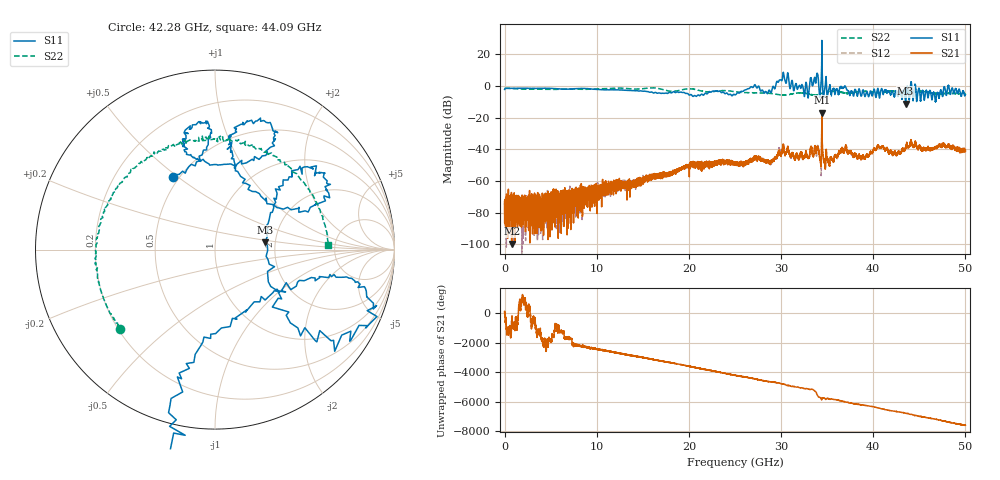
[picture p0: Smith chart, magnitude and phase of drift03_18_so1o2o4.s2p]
!Created with skrf (http://scikit-rf.org).
# Hz S RI R 50.0
!freq ReS11 ImS11 ReS21 ImS21 ReS12 ImS12 ReS22 ImS22
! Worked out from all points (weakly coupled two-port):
!   10000 points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, 5.3 MHz to 50 GHz, reference 50 ohm
!   highest |S21| = -16.70 dB at 34.43 GHz (marker M1); lowest = -99.5 dB at 770.3 MHz (marker M2)
!   lowest |S11| = -11.0 dB at 43.52 GHz (marker M3), VSWR 1.78, Z = 88.2 + j7.74 ohm
!   |S11| at or under -10 dB: 43.49761 GHz to 43.5406 GHz (42.99 MHz wide, 0.0988 % of centre)
!   |S22| runs from -5.8 to -1.1 dB; largest |S21 - S12| = 0.04
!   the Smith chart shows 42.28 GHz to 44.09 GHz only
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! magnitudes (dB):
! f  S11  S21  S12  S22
! 5.3 MHz  -2.1  -86.2  -81.4  -1.3
! 770.3 MHz  -1.4  -99.5  -75.8  -1.5
! 4.085 GHz  -1.4  -79.5  -74.6  -2.0
! 8.34 GHz  -1.5  -64.8  -68.8  -2.1
! 16.67 GHz  -4.4  -57.3  -57.6  -1.5
! 20.39 GHz  -6.3  -49.4  -49.1  -1.8
! 25.01 GHz  -5.5  -49.2  -49.2  -3.5
! 27.02 GHz  -0.3  -44.8  -45.7  -4.3
! 28.72 GHz  -2.5  -47.1  -47.8  -4.5
! 30.14 GHz  4.4  -40.5  -40.4  -5.7
! 32.74 GHz  2.0  -42.0  -42.0  -4.6
! 33.34 GHz  2.4  -39.0  -40.2  -5.5
! 33.82 GHz  3.9  -42.6  -42.0  -5.7
! 34.43 GHz  28.9  -16.7  -18.7  -4.6
! 35.29 GHz  0.7  -48.2  -47.2  -3.3
! 36.86 GHz  -0.5  -41.4  -41.3  -4.2
! 38.87 GHz  -2.5  -43.9  -44.2  -3.2
! 40.61 GHz  -4.7  -38.3  -38.7  -4.1
! 41.67 GHz  -3.2  -42.2  -42.0  -3.3
! 43.52 GHz  -11.0  -38.8  -38.8  -4.1
! 47.53 GHz  -6.2  -38.0  -36.9  -4.8
! 50 GHz  -5.4  -40.3  -41.0  -4.5
